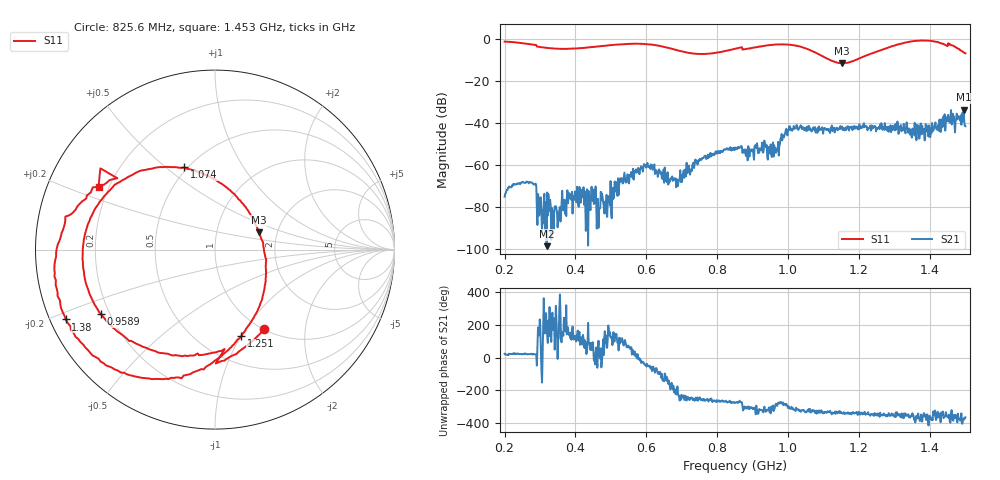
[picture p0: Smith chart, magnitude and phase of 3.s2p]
! NanoVNA-App
! Date: 2024-06-25 16:49:46
! Start: 200MHz Stop: 1.5GHz Points: 801
! S-Parameter data: F S11 S21 S12 S22
# Hz S RI R 50
!  Frequency  S11_Real  S11_Imag  S21_Real  S21_Imag  S12_Real  S12_Imag  S22_Real  S22_Imag
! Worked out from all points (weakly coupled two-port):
!   801 points, 200 MHz to 1.5 GHz, reference 50 ohm
!   highest |S21| = -33.61 dB at 1.495 GHz (marker M1); lowest = -98.5 dB at 318.6 MHz (marker M2)
!   lowest |S11| = -11.6 dB at 1.152 GHz (marker M3), VSWR 1.71, Z = 80.2 + j16.8 ohm
!   |S11| at or under -10 dB: 1.118 GHz to 1.191 GHz (72.73 MHz wide, 6.3 % of centre)
!   S12 and S22 are empty: the file has one direction only
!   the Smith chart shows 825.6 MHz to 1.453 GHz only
!   S11 on the Smith chart (normalised r, x): 825.6 MHz: 1.01, -1.23; 958.9 MHz: 0.17, -0.26; 1.074 GHz: 0.48, +0.58; 1.251 GHz: 0.77, -1.00; 1.38 GHz: 0.04, -0.22; 1.453 GHz: 0.16, +0.25
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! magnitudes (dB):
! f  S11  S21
! 200 MHz  -1.3  -75.0
! 268.2 MHz  -2.5  -68.6
! 318.6 MHz  -4.3  -98.5
! 417.8 MHz  -4.3  -71.7
! 486 MHz  -3.2  -83.0
! 531.5 MHz  -2.5  -66.3
! 599.8 MHz  -2.5  -61.2
! 633.9 MHz  -3.2  -63.3
! 687.5 MHz  -5.4  -69.2
! 825.6 MHz  -5.7  -52.2
! 850 MHz  -4.7  -52.7
! 958.9 MHz  -2.7  -55.9
! 999.5 MHz  -2.7  -43.5
! 1.068 GHz  -5.8  -43.6
! 1.074 GHz  -6.2  -43.1
! 1.152 GHz  -11.6  -41.6
! 1.251 GHz  -5.9  -42.7
! 1.284 GHz  -4.0  -44.1
! 1.38 GHz  -0.7  -44.4
! 1.453 GHz  -2.6  -37.2
! 1.495 GHz  -6.4  -33.6
! 1.5 GHz  -6.9  -41.5
